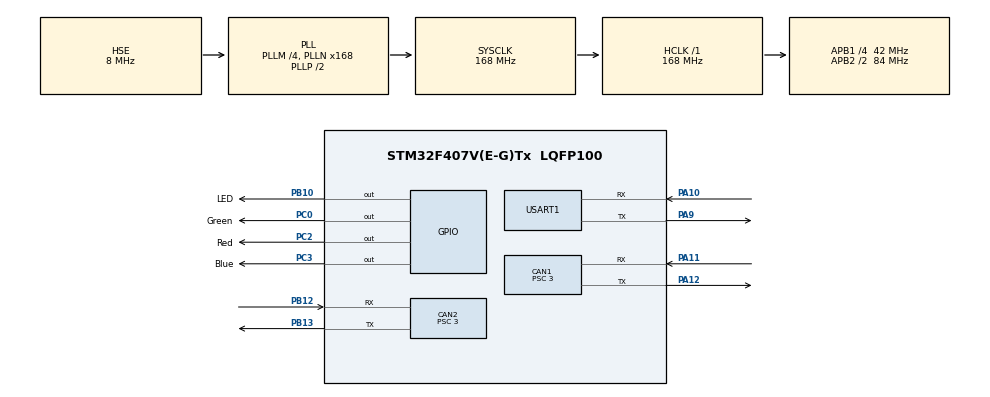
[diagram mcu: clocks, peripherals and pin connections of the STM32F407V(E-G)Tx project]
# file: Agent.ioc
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CAN1.BS1=CAN_BS1_9TQ
CAN1.BS2=CAN_BS2_4TQ
CAN1.CalculateTimeBit=1000
CAN1.CalculateTimeQuantum=71.42857142857143
CAN1.Mode=CAN_MODE_NORMAL
CAN1.Prescaler=3
CAN1.TXFP=DISABLE
CAN2.BS1=CAN_BS1_9TQ
CAN2.BS2=CAN_BS2_4TQ
CAN2.CalculateTimeBit=1000
CAN2.CalculateTimeQuantum=71.42857142857143
CAN2.Mode=CAN_MODE_NORMAL
CAN2.Prescaler=3
Mcu.Family=STM32F4
Mcu.Name=STM32F407V(E-G)Tx
Mcu.Package=LQFP100
NVIC.CAN1_RX0_IRQn=true\:0\:0\:false\:false\:true\:true
NVIC.CAN1_TX_IRQn=true\:0\:0\:false\:false\:true\:true
NVIC.CAN2_RX0_IRQn=true\:0\:0\:false\:false\:true\:true
NVIC.CAN2_TX_IRQn=true\:0\:0\:false\:false\:true\:true
NVIC.PriorityGroup=NVIC_PRIORITYGROUP_4
NVIC.TIM3_IRQn=true\:0\:0\:false\:false\:true\:true
PA10.Mode=Asynchronous
PA10.Signal=USART1_RX
PA11.Mode=Master
PA11.Signal=CAN1_RX
PA12.Mode=Master
PA12.Signal=CAN1_TX
PA13.Mode=Serial_Wire
PA13.Signal=SYS_JTMS-SWDIO
PA14.Mode=Serial_Wire
PA14.Signal=SYS_JTCK-SWCLK
PA9.Mode=Asynchronous
PA9.Signal=USART1_TX
PB10.GPIO_Label=LED
PB10.PinState=GPIO_PIN_SET
PB10.Signal=GPIO_Output
PB12.Mode=Slave
PB12.Signal=CAN2_RX
PB13.Mode=Slave
PB13.Signal=CAN2_TX
PC0.GPIO_Label=Green
PC0.PinState=GPIO_PIN_SET
PC0.Signal=GPIO_Output
PC2.GPIO_Label=Red
PC2.PinState=GPIO_PIN_SET
PC2.Signal=GPIO_Output
PC3.GPIO_Label=Blue
PC3.PinState=GPIO_PIN_SET
PC3.Signal=GPIO_Output
PH0-OSC_IN.Mode=HSE-External-Oscillator
PH0-OSC_IN.Signal=RCC_OSC_IN
PH1-OSC_OUT.Mode=HSE-External-Oscillator
PH1-OSC_OUT.Signal=RCC_OSC_OUT
ProjectManager.HeapSize=0x200
ProjectManager.StackSize=0x400
ProjectManager.TargetToolchain=MDK-ARM V5
RCC.48MHZClocksFreq_Value=84000000
RCC.AHBFreq_Value=168000000
RCC.APB1CLKDivider=RCC_HCLK_DIV4
RCC.APB1Freq_Value=42000000
RCC.APB1TimFreq_Value=84000000
RCC.APB2CLKDivider=RCC_HCLK_DIV2
RCC.APB2Freq_Value=84000000
RCC.APB2TimFreq_Value=168000000
RCC.CortexFreq_Value=168000000
RCC.HCLKFreq_Value=168000000
RCC.HSE_VALUE=8000000
RCC.HSI_VALUE=16000000
RCC.LSE_VALUE=32768
RCC.PLLM=4
RCC.PLLN=168
RCC.PLLSourceVirtual=RCC_PLLSOURCE_HSE
RCC.SYSCLKFreq_VALUE=168000000
RCC.SYSCLKSource=RCC_SYSCLKSOURCE_PLLCLK
RCC.VCOOutputFreq_Value=336000000
TIM3.Period=10000-1
TIM3.Prescaler=8400-1
USART1.VirtualMode=VM_ASYNC
VP_TIM3_VS_ClockSourceINT.Mode=Internal
board=Agent

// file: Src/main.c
/**
  ******************************************************************************
  * File Name          : main.c
  * Description        : Main program body
  ******************************************************************************
  ** This notice applies to any and all portions of this file
  * that are not between comment pairs USER CODE BEGIN and
  * USER CODE END. Other portions of this file, whether
  * inserted by the user or by software development tools
  * are owned by their respective copyright owners.
  *
  * COPYRIGHT(c) 2018 STMicroelectronics
  *
  * Redistribution and use in source and binary forms, with or without modification,
  * are permitted provided that the following conditions are met:
  *   1. Redistributions of source code must retain the above copyright notice,
  *      this list of conditions and the following disclaimer.
  *   2. Redistributions in binary form must reproduce the above copyright notice,
  *      this list of conditions and the following disclaimer in the documentation
  *      and/or other materials provided with the distribution.
  *   3. Neither the name of STMicroelectronics nor the names of its contributors
  *      may be used to endorse or promote products derived from this software
  *      without specific prior written permission.
  *
  * THIS SOFTWARE IS PROVIDED BY THE COPYRIGHT HOLDERS AND CONTRIBUTORS "AS IS"
  * AND ANY EXPRESS OR IMPLIED WARRANTIES, INCLUDING, BUT NOT LIMITED TO, THE
  * IMPLIED WARRANTIES OF MERCHANTABILITY AND FITNESS FOR A PARTICULAR PURPOSE ARE
  * DISCLAIMED. IN NO EVENT SHALL THE COPYRIGHT HOLDER OR CONTRIBUTORS BE LIABLE
  * FOR ANY DIRECT, INDIRECT, INCIDENTAL, SPECIAL, EXEMPLARY, OR CONSEQUENTIAL
  * DAMAGES (INCLUDING, BUT NOT LIMITED TO, PROCUREMENT OF SUBSTITUTE GOODS OR
  * SERVICES; LOSS OF USE, DATA, OR PROFITS; OR BUSINESS INTERRUPTION) HOWEVER
  * CAUSED AND ON ANY THEORY OF LIABILITY, WHETHER IN CONTRACT, STRICT LIABILITY,
  * OR TORT (INCLUDING NEGLIGENCE OR OTHERWISE) ARISING IN ANY WAY OUT OF THE USE
  * OF THIS SOFTWARE, EVEN IF ADVISED OF THE POSSIBILITY OF SUCH DAMAGE.
  *
  ******************************************************************************
  */

#include "main.h"
#include "stm32f4xx_hal.h"
#include "can.h"
#include "tim.h"
#include "usart.h"
#include "gpio.h"

/* USER CODE BEGIN Includes */
#include "stdlib.h"
#include "elmo.h"
/* USER CODE END Includes */

/* USER CODE BEGIN PV */
/* Private variables ---------------------------------------------------------*/
CAN_FilterConfTypeDef  CAN1_FilterConf;
CAN_FilterConfTypeDef  CAN2_FilterConf;
int status;
int addr;
int32_t flag;
int32_t value;
/* USER CODE END PV */

void SystemClock_Config(void);

/* USER CODE BEGIN PFP */
/* Private function prototypes -----------------------------------------------*/

/* USER CODE END PFP */

int main(void)
{

  /* USER CODE BEGIN 1 */
	hcan1.pRxMsg=(CanRxMsgTypeDef* )malloc(sizeof(CanRxMsgTypeDef));
  hcan1.pTxMsg=(CanTxMsgTypeDef* )malloc(sizeof(CanTxMsgTypeDef));
  hcan2.pRxMsg=(CanRxMsgTypeDef* )malloc(sizeof(CanRxMsgTypeDef));
  hcan2.pTxMsg=(CanTxMsgTypeDef* )malloc(sizeof(CanTxMsgTypeDef));
  //static CanTxMsgTypeDef        TxMessage;

  /* USER CODE END 1 */

  /* MCU Configuration----------------------------------------------------------*/

  /* Reset of all peripherals, Initializes the Flash interface and the Systick. */
  HAL_Init();

  /* Configure the system clock */
  SystemClock_Config();

  /* Initialize all configured peripherals */
  MX_GPIO_Init();
  MX_CAN1_Init();
  MX_TIM3_Init();
  MX_USART1_UART_Init();
  MX_CAN2_Init();

  /* USER CODE BEGIN 2 */

	/* Configure CAN Filter */
	CAN1_FilterConf.FilterNumber = 0;
  CAN1_FilterConf.FilterMode = CAN_FILTERMODE_IDMASK;
  CAN1_FilterConf.FilterScale = CAN_FILTERSCALE_32BIT;
  CAN1_FilterConf.FilterIdHigh = 0x0000;
  CAN1_FilterConf.FilterIdLow = 0x0000;
  CAN1_FilterConf.FilterMaskIdHigh = 0x0000;
  CAN1_FilterConf.FilterMaskIdLow = 0x0000;
  CAN1_FilterConf.FilterFIFOAssignment = 0;
  CAN1_FilterConf.FilterActivation = ENABLE;
  CAN1_FilterConf.BankNumber = 14;
  HAL_CAN_ConfigFilter(&hcan1, &CAN1_FilterConf);

	CAN2_FilterConf.FilterNumber = 14;
  CAN2_FilterConf.FilterMode = CAN_FILTERMODE_IDMASK;
  CAN2_FilterConf.FilterScale = CAN_FILTERSCALE_32BIT;
  CAN2_FilterConf.FilterIdHigh = 0x0000;
  CAN2_FilterConf.FilterIdLow = 0x0000;
  CAN2_FilterConf.FilterMaskIdHigh = 0x0000;
  CAN2_FilterConf.FilterMaskIdLow = 0x0000;
  CAN2_FilterConf.FilterFIFOAssignment = 0;
  CAN2_FilterConf.FilterActivation = ENABLE;
  //CAN2_FilterConf.BankNumber = 14;  //双控制器分界线，无需重复设置
  HAL_CAN_ConfigFilter(&hcan2, &CAN2_FilterConf);

	/* 注册消息 */
//  hcan2.pRxMsg = &RxMessage;

	/* 报文示例 */
//	hcan2.pTxMsg->StdId = 0x123;
//  hcan2.pTxMsg->RTR = CAN_RTR_DATA;
//  hcan2.pTxMsg->IDE = CAN_ID_STD;
//  hcan2.pTxMsg->DLC = 8;
//  hcan2.pTxMsg->Data[0] = 'C';
//  hcan2.pTxMsg->Data[1] = 'A';
//  hcan2.pTxMsg->Data[2] = 'N';
//  hcan2.pTxMsg->Data[3] = ' ';
//  hcan2.pTxMsg->Data[4] = 'T';
//  hcan2.pTxMsg->Data[5] = 'e';
//  hcan2.pTxMsg->Data[6] = 's';
//  hcan2.pTxMsg->Data[7] = 't';

	/* 注册中断 */
	HAL_CAN_Receive_IT(&hcan1, CAN_FIFO0);

	BLUE_ON;
	Elmo_Init();
	BLUE_OFF;

	//Elmo_SetAcc(1, 100000);
	//Elmo_PVM(1,50000);

	HAL_TIM_Base_Start_IT(&htim3);
  /* USER CODE END 2 */

  /* Infinite loop */
  while (1)
  {

  /* USER CODE BEGIN 3 */

	switch (flag) {
		case 1: //设置速度
			Elmo_PVM(addr, value);
			flag = 0;
			break;
		case 2: //设置加速度
			Elmo_SetAcc(addr, value);
			flag = 0;
			break;
		case 3: //设置减速度
			Elmo_SetDec(addr, value);
			flag = 0;
			break;
		case 4: //抱死
			Elmo_Break(addr);
			flag = 0;
			break;
		case 5: //释放
			Elmo_Release(addr);
			flag = 0;
			break;
	}

	if (status == 0 && HAL_CAN_Transmit(&hcan2, 10) != HAL_OK)
	{
		HAL_TIM_Base_Stop_IT(&htim3);
		GREEN_OFF;
		BLUE_OFF;
		RED_ON;
		status = 1;
	}
	else if (status == 1 && HAL_CAN_Transmit(&hcan2, 10) == HAL_OK)
	{
		BLUE_ON;
		Elmo_Init();
		BLUE_OFF;
		HAL_TIM_Base_Start_IT(&htim3);
		RED_OFF;
		status = 0;
	}
		/*
		if(HAL_CAN_Receive(&hcan1, CAN_FIFO0, 10) == HAL_OK){
			printf("get");
      printf("StdId : %x\r\n",hcan1.pRxMsg->StdId);
      printf("RxMsg : %s",hcan1.pRxMsg->Data);
      printf("\r\n\r\n");
		}

		if(HAL_CAN_Receive(&hcan2, CAN_FIFO0, 10) == HAL_OK && hcan2.pRxMsg->StdId!=0x701){
			printf("get_ELMO");
      printf("StdId : %x\r\n",hcan2.pRxMsg->StdId);
      printf("RxMsg : %s",hcan2.pRxMsg->Data);
      printf("\r\n\r\n");
		}
		*/
			/*##-3- Start the CAN2 Transmission process #####################################*/

//      if(HAL_CAN_Transmit(&hcan2, 10) != HAL_OK)
//      {
//          /* Transmition Error */
//					printf("1\r\n\r\n");
//          Error_Handler();
//      }
//			printf("continue\r\n\r\n");
//      if(HAL_CAN_GetState(&hcan2) != HAL_CAN_STATE_READY)
//      {
//        printf("2\r\n\r\n");
//				Error_Handler();
//
//      }
//      /*##-4- Start the CAN1 Reception process ########################################*/
//      if(HAL_CAN_Receive(&hcan1, CAN_FIFO0,10) != HAL_OK)
//      {
//          /* Reception Error */
//        printf("3\r\n\r\n");
//				Error_Handler();
//      }
//      if(HAL_CAN_GetState(&hcan1) != HAL_CAN_STATE_READY)
//      {
//        printf("4\r\n\r\n");
//				Error_Handler();
//      }
//      printf("StdId : %x\r\n",hcan1.pRxMsg->StdId);
//      printf("RxMsg : %s",hcan1.pRxMsg->Data);
//      printf("\r\n\r\n");
//			HAL_Delay(1000);
  }
  /* USER CODE END 3 */

}

/** System Clock Configuration
*/
void SystemClock_Config(void)
{

  RCC_OscInitTypeDef RCC_OscInitStruct;
  RCC_ClkInitTypeDef RCC_ClkInitStruct;

    /**Configure the main internal regulator output voltage
    */
  __HAL_RCC_PWR_CLK_ENABLE();

  __HAL_PWR_VOLTAGESCALING_CONFIG(PWR_REGULATOR_VOLTAGE_SCALE1);

    /**Initializes the CPU, AHB and APB busses clocks
    */
  RCC_OscInitStruct.OscillatorType = RCC_OSCILLATORTYPE_HSE;
  RCC_OscInitStruct.HSEState = RCC_HSE_ON;
  RCC_OscInitStruct.PLL.PLLState = RCC_PLL_ON;
  RCC_OscInitStruct.PLL.PLLSource = RCC_PLLSOURCE_HSE;
  RCC_OscInitStruct.PLL.PLLM = 4;
  RCC_OscInitStruct.PLL.PLLN = 168;
  RCC_OscInitStruct.PLL.PLLP = RCC_PLLP_DIV2;
  RCC_OscInitStruct.PLL.PLLQ = 4;
  if (HAL_RCC_OscConfig(&RCC_OscInitStruct) != HAL_OK)
  {
    _Error_Handler(__FILE__, __LINE__);
  }

    /**Initializes the CPU, AHB and APB busses clocks
    */
  RCC_ClkInitStruct.ClockType = RCC_CLOCKTYPE_HCLK|RCC_CLOCKTYPE_SYSCLK
                              |RCC_CLOCKTYPE_PCLK1|RCC_CLOCKTYPE_PCLK2;
  RCC_ClkInitStruct.SYSCLKSource = RCC_SYSCLKSOURCE_PLLCLK;
  RCC_ClkInitStruct.AHBCLKDivider = RCC_SYSCLK_DIV1;
  RCC_ClkInitStruct.APB1CLKDivider = RCC_HCLK_DIV4;
  RCC_ClkInitStruct.APB2CLKDivider = RCC_HCLK_DIV2;

  if (HAL_RCC_ClockConfig(&RCC_ClkInitStruct, FLASH_LATENCY_5) != HAL_OK)
  {
    _Error_Handler(__FILE__, __LINE__);
  }

    /**Configure the Systick interrupt time
    */
  HAL_SYSTICK_Config(HAL_RCC_GetHCLKFreq()/1000);

    /**Configure the Systick
    */
  HAL_SYSTICK_CLKSourceConfig(SYSTICK_CLKSOURCE_HCLK);

  /* SysTick_IRQn interrupt configuration */
  HAL_NVIC_SetPriority(SysTick_IRQn, 0, 0);
}

/* USER CODE BEGIN 4 */
/* 定时器中断回调函数 */
void HAL_TIM_PeriodElapsedCallback(TIM_HandleTypeDef *htim)
{
	if (htim->Instance == htim3.Instance)
		{
			/* Toggle LED */
			GREEN_TOGGLE;
			printf("-1s\r\n");
		}
}

/* CAN 中断回调函数 */
void HAL_CAN_RxCpltCallback(CAN_HandleTypeDef* hcan)
{
	if (hcan == &hcan1 && hcan1.pRxMsg->StdId < 10 && hcan1.pRxMsg->DLC == 8) { //自定义报文有效
		addr = hcan1.pRxMsg->StdId;
		flag = (hcan1.pRxMsg->Data[3] << 24) + (hcan1.pRxMsg->Data[2] << 16) + (hcan1.pRxMsg->Data[1] << 8) + hcan1.pRxMsg->Data[0];
		value = (hcan1.pRxMsg->Data[7] << 24) + (hcan1.pRxMsg->Data[6] << 16) + (hcan1.pRxMsg->Data[5] << 8) + hcan1.pRxMsg->Data[4];
		printf("StdId : %x\r\nRxMsg : %s\r\nFlag : %i\r\nValue : %i\r\n", hcan1.pRxMsg->StdId, hcan1.pRxMsg->Data, flag, value);
	}
	HAL_CAN_Receive_IT(&hcan1, CAN_FIFO0); //重新开启中断
}
/* USER CODE END 4 */

void _Error_Handler(char * file, int line)
{
  while(1)
  {
  }
}

/************************ (C) COPYRIGHT STMicroelectronics *****END OF FILE****/
